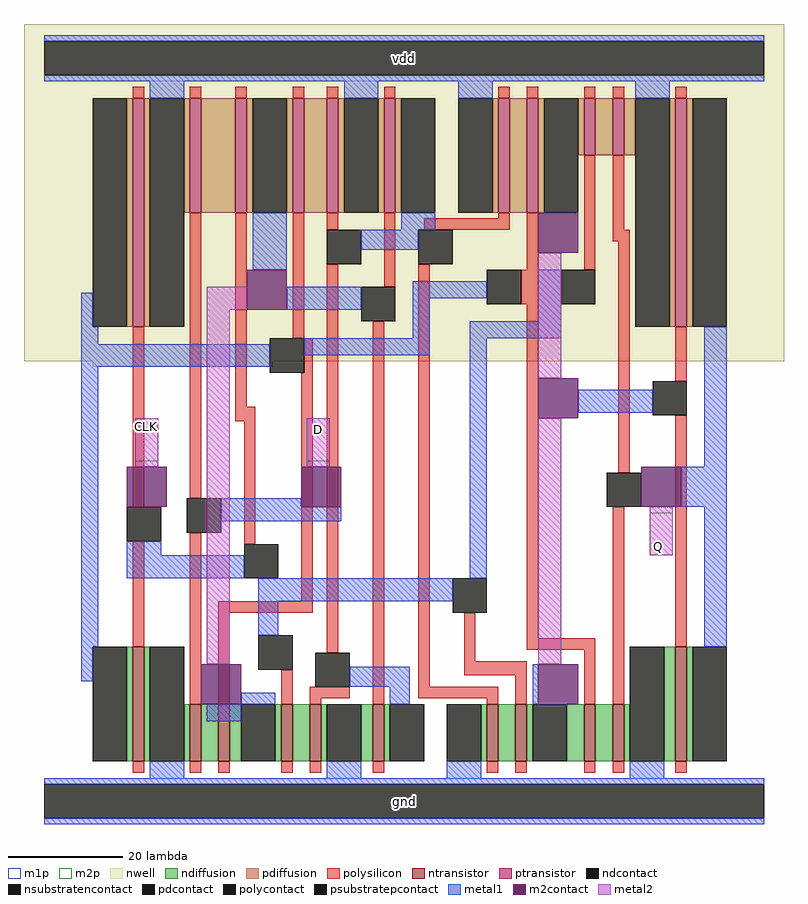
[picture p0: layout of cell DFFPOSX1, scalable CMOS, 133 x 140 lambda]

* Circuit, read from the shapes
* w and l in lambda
.subckt DFFPOSX1 D CLK Q vdd gnd
M1 gnd CLK n1 gnd nfet w=20 l=2
M2 n2 D gnd gnd nfet w=10 l=2
M3 n3 n1 n2 gnd nfet w=10 l=2
M4 n4 CLK n3 gnd nfet w=10 l=2
M5 gnd n5 n4 gnd nfet w=10 l=2
M6 n5 n3 gnd gnd nfet w=10 l=2
M7 n6 n5 gnd gnd nfet w=10 l=2
M8 n7 CLK n6 gnd nfet w=10 l=2
M9 n8 n1 n7 gnd nfet w=10 l=2
M10 gnd Q n8 gnd nfet w=10 l=2
M11 Q n7 gnd gnd nfet w=20 l=2
M12 vdd CLK n1 vdd pfet w=40 l=2
M13 n9 D vdd vdd pfet w=20 l=2
M14 n3 CLK n9 vdd pfet w=20 l=2
M15 n10 n1 n3 vdd pfet w=20 l=2
M16 vdd n5 n10 vdd pfet w=20 l=2
M17 n5 n3 vdd vdd pfet w=20 l=2
M18 n11 n5 vdd vdd pfet w=20 l=2
M19 n7 n1 n11 vdd pfet w=20 l=2
M20 n12 CLK n7 vdd pfet w=10 l=2
M21 vdd Q n12 vdd pfet w=10 l=2
M22 Q n7 vdd vdd pfet w=40 l=2
.ends

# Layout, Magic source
magic
tech scmos
magscale 1 2
<< nwell >>
rect -13 154 253 272
rect 11 152 74 154
<< ntransistor >>
rect 25 14 29 54
rect 45 14 49 34
rect 55 14 59 34
rect 77 14 81 34
rect 87 14 91 34
rect 109 14 113 34
rect 149 14 153 34
rect 159 14 163 34
rect 183 14 187 34
rect 193 14 197 34
rect 215 14 219 54
<< ptransistor >>
rect 25 166 29 246
rect 45 206 49 246
rect 61 206 65 246
rect 81 206 85 246
rect 93 206 97 246
rect 113 206 117 246
rect 153 206 157 246
rect 163 206 167 246
rect 183 226 187 246
rect 193 226 197 246
rect 215 166 219 246
<< ndiffusion >>
rect 23 14 25 54
rect 29 14 31 54
rect 43 14 45 34
rect 49 14 55 34
rect 59 14 63 34
rect 75 14 77 34
rect 81 14 87 34
rect 91 14 93 34
rect 105 14 109 34
rect 113 14 115 34
rect 147 14 149 34
rect 153 14 159 34
rect 163 14 165 34
rect 177 14 183 34
rect 187 14 193 34
rect 197 14 199 34
rect 211 14 215 54
rect 219 14 221 54
<< pdiffusion >>
rect 23 166 25 246
rect 29 166 31 246
rect 43 206 45 246
rect 49 206 61 246
rect 65 206 67 246
rect 79 206 81 246
rect 85 206 93 246
rect 97 206 99 246
rect 111 206 113 246
rect 117 206 119 246
rect 151 206 153 246
rect 157 206 163 246
rect 167 206 169 246
rect 181 226 183 246
rect 187 226 193 246
rect 197 226 201 246
rect 213 166 215 246
rect 219 166 221 246
<< ndcontact >>
rect 11 14 23 54
rect 31 14 43 54
rect 63 14 75 34
rect 93 14 105 34
rect 115 14 127 34
rect 135 14 147 34
rect 165 14 177 34
rect 199 14 211 54
rect 221 14 233 54
<< pdcontact >>
rect 11 166 23 246
rect 31 166 43 246
rect 67 206 79 246
rect 99 206 111 246
rect 119 206 131 246
rect 139 206 151 246
rect 169 206 181 246
rect 201 166 213 246
rect 221 166 233 246
<< psubstratepcontact >>
rect -6 -6 246 6
<< nsubstratencontact >>
rect -6 254 246 266
<< polysilicon >>
rect 25 246 29 250
rect 45 246 49 250
rect 61 246 65 250
rect 81 246 85 250
rect 93 246 97 250
rect 113 246 117 250
rect 153 246 157 250
rect 163 246 167 250
rect 183 246 187 250
rect 193 246 197 250
rect 215 246 219 250
rect 25 103 29 166
rect 45 106 49 206
rect 61 138 65 206
rect 81 162 85 206
rect 93 200 97 206
rect 85 150 88 162
rect 61 133 68 138
rect 25 54 29 91
rect 45 34 49 94
rect 64 90 68 133
rect 84 70 88 150
rect 55 66 88 70
rect 55 34 59 66
rect 93 52 97 188
rect 113 180 117 206
rect 153 204 157 206
rect 127 200 157 204
rect 77 34 81 46
rect 87 36 101 40
rect 87 34 91 36
rect 109 34 113 168
rect 125 40 129 188
rect 163 186 167 206
rect 183 186 187 226
rect 193 200 197 226
rect 193 196 199 200
rect 161 174 167 186
rect 141 49 145 66
rect 163 57 167 174
rect 195 115 199 196
rect 215 147 219 166
rect 163 53 187 57
rect 141 44 163 49
rect 125 36 153 40
rect 149 34 153 36
rect 159 34 163 44
rect 183 34 187 53
rect 193 34 197 103
rect 215 54 219 135
rect 25 10 29 14
rect 45 10 49 14
rect 55 10 59 14
rect 77 10 81 14
rect 87 10 91 14
rect 109 10 113 14
rect 149 10 153 14
rect 159 10 163 14
rect 183 10 187 14
rect 193 10 197 14
rect 215 10 219 14
<< polycontact >>
rect 93 188 105 200
rect 73 150 85 162
rect 23 91 35 103
rect 44 94 56 106
rect 64 78 76 90
rect 69 46 81 58
rect 105 168 117 180
rect 125 188 137 200
rect 89 40 101 52
rect 149 174 161 186
rect 175 174 187 186
rect 137 66 149 78
rect 207 135 219 147
rect 191 103 203 115
<< metal1 >>
rect -6 266 246 268
rect -6 252 246 254
rect 31 246 43 252
rect 99 246 111 252
rect 139 246 151 252
rect 201 246 213 252
rect 7 166 11 178
rect 67 186 79 206
rect 119 200 131 206
rect 105 193 125 200
rect 79 172 105 180
rect 123 176 149 182
rect 7 160 13 166
rect 123 162 129 176
rect 167 168 175 186
rect 7 152 73 160
rect 7 54 13 152
rect 85 156 129 162
rect 143 162 175 168
rect 56 103 84 106
rect 56 98 98 103
rect 23 86 35 91
rect 23 78 64 86
rect 143 78 149 162
rect 181 136 207 144
rect 225 117 233 166
rect 217 103 233 117
rect 69 70 137 78
rect 69 58 76 70
rect 7 42 11 54
rect 225 54 233 103
rect 101 40 122 47
rect 63 34 75 38
rect 115 34 122 40
rect 165 34 167 48
rect 51 28 63 34
rect 31 8 43 14
rect 93 8 105 14
rect 135 8 147 14
rect 199 8 211 14
rect -6 6 246 8
rect -6 -8 246 -6
<< m2contact >>
rect 167 192 181 206
rect 65 172 79 186
rect 23 103 37 117
rect 84 103 98 117
rect 167 134 181 148
rect 203 103 217 117
rect 49 34 63 48
rect 167 34 181 48
<< metal2 >>
rect 51 172 65 180
rect 26 117 34 134
rect 51 48 59 172
rect 167 148 175 192
rect 86 117 94 134
rect 167 48 175 134
rect 206 86 214 103
<< m1p >>
rect -6 252 246 268
rect -6 -8 246 8
<< m2p >>
rect 26 119 34 134
rect 86 119 94 134
rect 206 86 214 101
<< labels >>
rlabel metal2 90 130 90 130 7 D
port 1 n signal input
rlabel metal2 30 131 30 131 1 CLK
port 2 n signal input
rlabel metal2 209 89 209 89 1 Q
port 3 n signal output
rlabel metal1 -6 252 246 268 0 vdd
port 4 nsew power bidirectional abutment
rlabel metal1 -6 -8 246 8 0 gnd
port 5 nsew ground bidirectional abutment
<< properties >>
string FIXED_BBOX 0 0 240 260
string LEFclass CORE
string LEFsite core
string LEFsymmetry X Y
<< end >>
